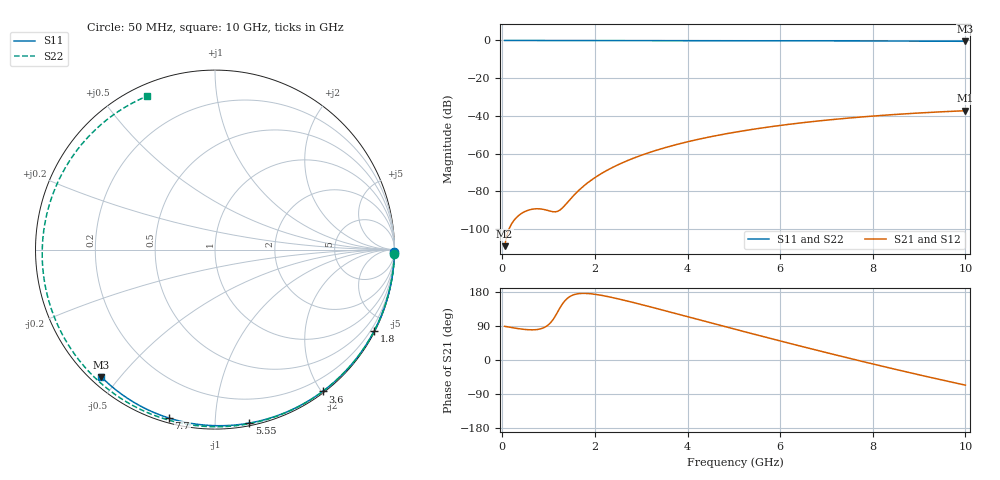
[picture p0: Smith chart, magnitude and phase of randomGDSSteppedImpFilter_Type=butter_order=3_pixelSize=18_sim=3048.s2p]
! freq	dB(S11)	phase(S11)	dB(S12)	phase(S12)
!  dB(S21)	phase(S21)	dB(S22)	phase(S22)
!S-par simulation data
#  GHz  S  DB  R 50
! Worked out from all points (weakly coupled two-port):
!   200 points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, 50 MHz to 10 GHz, reference 50 ohm
!   highest |S21| = -37.25 dB at 10 GHz (marker M1); lowest = -109.1 dB at 50 MHz (marker M2)
!   lowest |S11| = -0.4 dB at 10 GHz (marker M3), VSWR 39.65, Z = 1.51 - j22.4 ohm
!   |S11| at or under -10 dB: nowhere
!   |S22| runs from -0.6 to 0.0 dB; largest |S21 - S12| = 0
!   S11 on the Smith chart (normalised r, x): 50 MHz: open; 1.8 GHz: 0.04, -4.16; 3.6 GHz: 0.02, -2.01; 5.55 GHz: 0.02, -1.22; 7.7 GHz: 0.02, -0.76; 10 GHz: 0.03, -0.45
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0.05  -0.00 -0.8  -109.09 89.0  -109.09 89.0  -0.00 -1.5
0.4  -0.01 -6.1  -91.97 81.8  -91.97 81.8  -0.02 -12.1
0.8  -0.02 -12.1  -89.29 81.4  -89.29 81.4  -0.03 -24.0
1.6  -0.03 -24.1  -80.73 174.1  -80.73 174.1  -0.06 -47.3
1.65  -0.03 -24.8  -79.54 175.1  -79.54 175.1  -0.06 -48.7
1.75  -0.03 -26.3  -77.35 175.8  -77.35 175.8  -0.06 -51.5
1.8  -0.03 -27.0  -76.33 175.7  -76.33 175.7  -0.07 -52.9
2.1  -0.04 -31.4  -71.17 171.5  -71.17 171.5  -0.08 -61.3
2.45  -0.05 -36.5  -66.50 162.8  -66.50 162.8  -0.09 -70.7
2.9  -0.06 -43.0  -61.80 149.5  -61.80 149.5  -0.10 -82.5
3.4  -0.07 -50.0  -57.68 133.7  -57.68 133.7  -0.12 -95.2
3.6  -0.07 -52.8  -56.26 127.3  -56.26 127.3  -0.13 -100.1
4.3  -0.09 -62.4  -52.07 104.6  -52.07 104.6  -0.16 -116.8
5.05  -0.11 -72.4  -48.55 80.4  -48.55 80.4  -0.19 -133.9
5.55  -0.13 -78.9  -46.60 64.5  -46.60 64.5  -0.22 -145.0
6.15  -0.15 -86.5  -44.60 45.6  -44.60 45.6  -0.26 -158.1
6.7  -0.18 -93.3  -43.02 28.6  -43.02 28.6  -0.30 -170.0
7.2  -0.21 -99.3  -41.78 13.3  -41.78 13.3  -0.33 179.2
7.7  -0.24 -105.3  -40.69 -1.6  -40.69 -1.6  -0.38 168.2
8.35  -0.29 -112.9  -39.47 -20.6  -39.47 -20.6  -0.43 153.5
9.15  -0.35 -122.1  -38.26 -43.3  -38.26 -43.3  -0.50 134.8
10  -0.44 -131.8  -37.25 -66.4  -37.25 -66.4  -0.58 113.8
